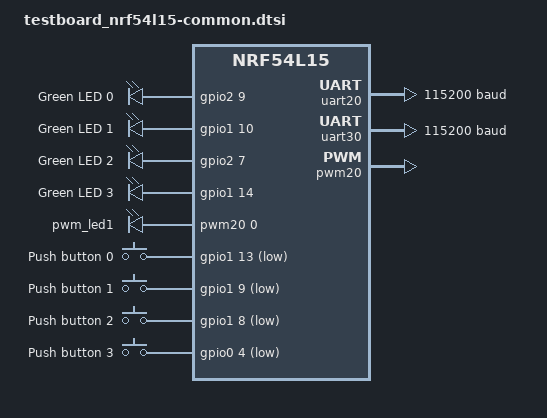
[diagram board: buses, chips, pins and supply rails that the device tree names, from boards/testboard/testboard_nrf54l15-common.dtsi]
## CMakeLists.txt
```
# SPDX-License-Identifier: Apache-2.0

cmake_minimum_required(VERSION 3.20.0)

list(APPEND BOARD_ROOT ${CMAKE_CURRENT_SOURCE_DIR})

find_package(Zephyr REQUIRED HINTS $ENV{ZEPHYR_BASE})
project(hello_world)

target_sources(app PRIVATE src/main.c)
```

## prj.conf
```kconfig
# nothing here
CONFIG_FLASH=y
CONFIG_FLASH_JESD216_API=y
```

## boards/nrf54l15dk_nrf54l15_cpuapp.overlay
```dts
/* This is application-specific overlay,
 * but could be hidden from the user via CMake, for example,
 * and pulled in by any application built against NCS-lite.
 *
 * Some of these might be already present in dts SoC or board definition.
 */

&gpiote20 {
	compatible = "nordic,nrf-gpiote";
	status = "disabled";
};

&gpiote30 {
	compatible = "nordic,nrf-gpiote";
	status = "disabled";
};

&i2s20 {
	compatible = "nordic,nrf-i2s";
	status = "disabled";
};

&comp {
	compatible = "nordic,nrf-comp";
	status = "disabled";
};

&pwm20 {
	compatible = "nordic,nrf-pwm";
	status = "disabled";
};

&pwm21 {
	compatible = "nordic,nrf-pwm";
	status = "disabled";
};

&pwm22 {
	compatible = "nordic,nrf-pwm";
	status = "disabled";
};

&i2c21 {
	compatible = "nordic,nrf-twim", "nordic,nrf-twis";
	status = "disabled";
};

&i2c22 {
	compatible = "nordic,nrf-twis", "nordic,nrf-twim";
	status = "disabled";
};

&i2c30 {
	compatible = "nordic,nrf-twis", "nordic,nrf-twim";
	status = "disabled";
};

&spi21 {
	compatible = "nordic,nrf-spim", "nordic,nrf-spis";
	status = "disabled";
};

&spi22 {
	compatible = "nordic,nrf-spim", "nordic,nrf-spis";
	status = "disabled";
};

&spi30 {
	compatible = "nordic,nrf-spim", "nordic,nrf-spis";
	status = "disabled";
};

&uart21 {
	compatible = "nordic,nrf-uarte";
	status = "disabled";
};

&uart22 {
	compatible = "nordic,nrf-uarte";
	status = "disabled";
};

&uart30 {
	compatible = "nordic,nrf-uarte";
	status = "disabled";
};
```

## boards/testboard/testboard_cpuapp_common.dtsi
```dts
/*
 * Copyright (c) 2024 Nordic Semiconductor ASA
 *
 * SPDX-License-Identifier: Apache-2.0
 */

/* This file is common to the secure and non-secure domain */

#include <nordic/nrf54l15_cpuapp.dtsi>
#include "testboard_nrf54l15-common.dtsi"

/ {
	chosen {
		zephyr,console = &uart20;
		zephyr,shell-uart = &uart20;
		zephyr,uart-mcumgr = &uart20;
		zephyr,bt-mon-uart = &uart20;
		zephyr,bt-c2h-uart = &uart20;
		zephyr,flash-controller = &rram_controller;
		zephyr,flash = &cpuapp_rram;
		zephyr,ieee802154 = &ieee802154;
	};
};

&cpuapp_sram {
	status = "okay";
};

&lfxo {
	load-capacitors = "internal";
	load-capacitance-femtofarad = <15500>;
};

&hfxo {
	load-capacitors = "internal";
	load-capacitance-femtofarad = <15000>;
};

&regulators {
	status = "okay";
};

&vregmain {
	status = "okay";
	regulator-initial-mode = <NRF5X_REG_MODE_DCDC>;
};

&grtc {
	owned-channels = <0 1 2 3 4 5 6 7 8 9 10 11>;
	/* Channels 7-11 reserved for Zero Latency IRQs, 3-4 for FLPR */
	child-owned-channels = <3 4 7 8 9 10 11>;
	status = "okay";
};

&cpuapp_rram {
	partitions {
		compatible = "fixed-partitions";
		#address-cells = <1>;
		#size-cells = <1>;
		boot_partition: partition@0 {
			label = "mcuboot";
			reg = <0x0 DT_SIZE_K(64)>;
		};
		slot0_partition: partition@10000 {
			label = "image-0";
			reg = <0x10000 DT_SIZE_K(324)>;
		};
		slot0_ns_partition: partition@61000 {
			label = "image-0-nonsecure";
			reg = <0x61000 DT_SIZE_K(324)>;
		};
		slot1_partition: partition@b2000 {
			label = "image-1";
			reg = <0xb2000 DT_SIZE_K(324)>;
		};
		slot1_ns_partition: partition@103000 {
			label = "image-1-nonsecure";
			reg = <0x103000 DT_SIZE_K(324)>;
		};
		/* 32k from 0x154000 to 0x15bfff reserved for TF-M partitions */
		storage_partition: partition@15c000 {
			label = "storage";
			reg = <0x15c000 DT_SIZE_K(36)>;
		};
	};
};

&uart20 {
	status = "okay";
};

&gpio0 {
	status = "okay";
};

&gpio1 {
	status = "okay";
};

&gpio2 {
	status = "okay";
};

&gpiote20 {
	status = "okay";
};

&gpiote30 {
	status = "okay";
};

&radio {
	status = "okay";
};

&ieee802154 {
	status = "okay";
};

&temp {
	status = "okay";
};

&clock {
	status = "okay";
};

&spi00 {
	status = "okay";
	cs-gpios = <&gpio2 5 GPIO_ACTIVE_LOW>;
	pinctrl-0 = <&spi00_default>;
	pinctrl-1 = <&spi00_sleep>;
	pinctrl-names = "default", "sleep";

	mx25r64: mx25r6435f@0 {
		compatible = "jedec,spi-nor";
		status = "okay";
		reg = <0>;
		spi-max-frequency = <8000000>;
		jedec-id = [c2 28 17];
		sfdp-bfp = [
			e5 20 f1 ff  ff ff ff 03  44 eb 08 6b  08 3b 04 bb
			ee ff ff ff  ff ff 00 ff  ff ff 00 ff  0c 20 0f 52
			10 d8 00 ff  23 72 f5 00  82 ed 04 cc  44 83 48 44
			30 b0 30 b0  f7 c4 d5 5c  00 be 29 ff  f0 d0 ff ff
		];
		size = <67108864>;
		has-dpd;
		t-enter-dpd = <10000>;
		t-exit-dpd = <35000>;
	};
};

&adc {
	status = "okay";
};
```

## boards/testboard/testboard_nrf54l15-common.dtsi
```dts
/*
 * Copyright (c) 2024 Nordic Semiconductor ASA
 *
 * SPDX-License-Identifier: Apache-2.0
 */

#include "testboard_nrf54l15-pinctrl.dtsi"

/ {
	leds {
		compatible = "gpio-leds";
		led0: led_0 {
			gpios = <&gpio2 9 GPIO_ACTIVE_HIGH>;
			label = "Green LED 0";
		};
		led1: led_1 {
			gpios = <&gpio1 10 GPIO_ACTIVE_HIGH>;
			label = "Green LED 1";
		};
		led2: led_2 {
			gpios = <&gpio2 7 GPIO_ACTIVE_HIGH>;
			label = "Green LED 2";
		};
		led3: led_3 {
			gpios = <&gpio1 14 GPIO_ACTIVE_HIGH>;
			label = "Green LED 3";
		};
	};

	pwmleds {
		compatible = "pwm-leds";
		/*
		 * PWM signal can be exposed on GPIO pin only within same domain.
		 * There is only one domain which contains both PWM and GPIO:
		 * PWM20/21/22 and GPIO Port P1.
		 * Only LEDs connected to P1 can work with PWM, for example LED1.
		 */
		pwm_led1: pwm_led_1 {
			pwms = <&pwm20 0 PWM_MSEC(20) PWM_POLARITY_NORMAL>;
		};
	};

	buttons {
		compatible = "gpio-keys";
		button0: button_0 {
			gpios = <&gpio1 13 (GPIO_PULL_UP | GPIO_ACTIVE_LOW)>;
			label = "Push button 0";
			zephyr,code = <INPUT_KEY_0>;
		};
		button1: button_1 {
			gpios = <&gpio1 9 (GPIO_PULL_UP | GPIO_ACTIVE_LOW)>;
			label = "Push button 1";
			zephyr,code = <INPUT_KEY_1>;
		};
		button2: button_2 {
			gpios = <&gpio1 8 (GPIO_PULL_UP | GPIO_ACTIVE_LOW)>;
			label = "Push button 2";
			zephyr,code = <INPUT_KEY_2>;
		};
		button3: button_3 {
			gpios = <&gpio0 4 (GPIO_PULL_UP | GPIO_ACTIVE_LOW)>;
			label = "Push button 3";
			zephyr,code = <INPUT_KEY_3>;
		};
	};

	aliases {
		led0 = &led0;
		led1 = &led1;
		led2 = &led2;
		led3 = &led3;
		pwm-led0 = &pwm_led1;
		sw0 = &button0;
		sw1 = &button1;
		sw2 = &button2;
		sw3 = &button3;
		watchdog0 = &wdt31;
	};
};

&uart20 {
	current-speed = <115200>;
	pinctrl-0 = <&uart20_default>;
	pinctrl-1 = <&uart20_sleep>;
	pinctrl-names = "default", "sleep";
};

&uart30 {
	current-speed = <115200>;
	pinctrl-0 = <&uart30_default>;
	pinctrl-1 = <&uart30_sleep>;
	pinctrl-names = "default", "sleep";
};

&pwm20 {
	status = "okay";
	pinctrl-0 = <&pwm20_default>;
	pinctrl-1 = <&pwm20_sleep>;
	pinctrl-names = "default", "sleep";
};
```

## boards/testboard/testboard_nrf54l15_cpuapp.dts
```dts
/*
 * Copyright (c) 2024 Nordic Semiconductor ASA
 *
 * SPDX-License-Identifier: Apache-2.0
 */

/dts-v1/;

#include <nordic/nrf54l15_cpuapp.dtsi>

/ {
	chosen {
		zephyr,flash = &cpuapp_rram;
		zephyr,sram = &cpuapp_sram;
	};
};
```

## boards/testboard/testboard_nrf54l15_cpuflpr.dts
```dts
/*
 * Copyright (c) 2024 Nordic Semiconductor ASA
 *
 * SPDX-License-Identifier: Apache-2.0
 */

/dts-v1/;
#include <nordic/nrf54l15_cpuflpr.dtsi>
#include "testboard_nrf54l15-common.dtsi"

/ {
	model = "Nordic nRF54L15 DK nRF54L15 FLPR MCU";
	compatible = "nordic,nrf54l15dk_nrf54l15-cpuflpr";

	chosen {
		zephyr,console = &uart30;
		zephyr,shell-uart = &uart30;
		zephyr,code-partition = &cpuflpr_code_partition;
		zephyr,flash = &cpuflpr_rram;
		zephyr,sram = &cpuflpr_sram;
	};
};

&cpuflpr_sram {
	status = "okay";
	/* size must be increased due to booting from SRAM */
	reg = <0x20028000 DT_SIZE_K(96)>;
	ranges = <0x0 0x20028000 0x18000>;
};

&cpuflpr_rram {
	partitions {
		compatible = "fixed-partitions";
		#address-cells = <1>;
		#size-cells = <1>;

		cpuflpr_code_partition: partition@0 {
			label = "image-0";
			reg = <0x0 DT_SIZE_K(96)>;
		};
	};
};

&grtc {
	owned-channels = <3 4>;
	status = "okay";
};

&uart30 {
	status = "okay";
};

&gpio0 {
	status = "okay";
};

&gpio1 {
	status = "okay";
};

&gpio2 {
	status = "okay";
};

&gpiote20 {
	status = "okay";
};

&gpiote30 {
	status = "okay";
};
```

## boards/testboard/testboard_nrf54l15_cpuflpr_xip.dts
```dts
/*
 * Copyright (c) 2024 Nordic Semiconductor ASA
 *
 * SPDX-License-Identifier: Apache-2.0
 */

#include "testboard_nrf54l15_cpuflpr.dts"

&cpuflpr_sram {
	reg = <0x2002f000 DT_SIZE_K(68)>;
	ranges = <0x0 0x2002f000 0x11000>;
};
```

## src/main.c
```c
/*
 * Copyright (c) 2012-2014 Wind River Systems, Inc.
 *
 * SPDX-License-Identifier: Apache-2.0
 */

#include <stdio.h>
#include <zephyr/drivers/flash.h>

#define ADDR 0xFC0000

const struct device *dev = DEVICE_DT_GET(DT_CHOSEN(zephyr_flash_controller));

int main(void)
{
	int ret;
	uint8_t id[3];
	uint8_t buf[128];

	printf("Hello World! %s\n", CONFIG_BOARD_TARGET);

	if (!device_is_ready(dev)) {
		printf("Device not ready.\n");
		return 0;
	}

	flash_read_jedec_id(dev, id);
	printf("JEDEC ID: %02X:%02X:%02X\n", id[0], id[1], id[2]);

	printf("reading from %p\n", (void *)ADDR);
	ret = flash_read(dev, ADDR, buf, sizeof(buf));
	if (ret) {
		printf("flash_read failed: %d\n", ret);
		return 0;
	}

	printf("read:\n");
	for (int i = 0; i < sizeof(buf); i++) {
		printf("%02x ", buf[i]);
		if ((i + 1) % 16 == 0) {
			printf("\n");
		}
	}

	printf("erasing sector at %p\n", (void *)ADDR);
	ret = flash_erase(dev, ADDR, 4096);
	if (ret) {
		printf("flash_erase failed: %d\n", ret);
		return 0;
	}

	printf("reading from %p\n", (void *)ADDR);
	ret = flash_read(dev, ADDR, buf, sizeof(buf));
	if (ret) {
		printf("flash_read failed: %d\n", ret);
		return 0;
	}

	printf("read:\n");
	for (int i = 0; i < sizeof(buf); i++) {
		printf("%02x ", buf[i]);
		if ((i + 1) % 16 == 0) {
			printf("\n");
		}
	}

	printf("write 0x01, 0x02, ... to %p\n", (void *)ADDR);
	for (int i = 0; i < sizeof(buf); i++) {
		buf[i] = i;
	}
	ret = flash_write(dev, ADDR, buf, sizeof(buf));
	if (ret) {
		printf("flash_write failed: %d\n", ret);
		return 0;
	}

	printf("reading from %p\n", (void *)ADDR);
	ret = flash_read(dev, ADDR, buf, sizeof(buf));
	if (ret) {
		printf("flash_read failed: %d\n", ret);
		return 0;
	}

	printf("read:\n");
	for (int i = 0; i < sizeof(buf); i++) {
		printf("%02x ", buf[i]);
		if ((i + 1) % 16 == 0) {
			printf("\n");
		}
	}

	return 0;
}
```
